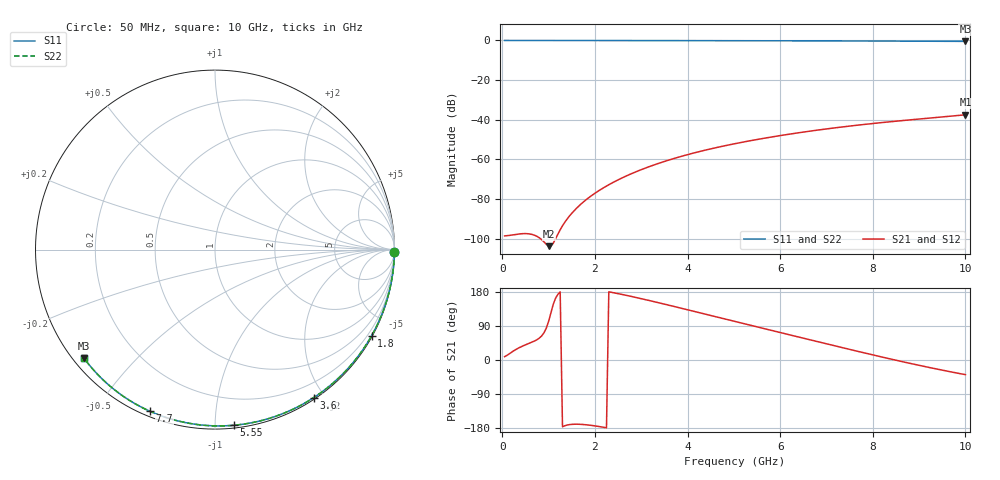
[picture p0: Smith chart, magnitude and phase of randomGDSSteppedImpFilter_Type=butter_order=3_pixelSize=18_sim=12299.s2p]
! freq	dB(S11)	phase(S11)	dB(S12)	phase(S12)
!  dB(S21)	phase(S21)	dB(S22)	phase(S22)
!S-par simulation data
#  GHz  S  DB  R 50
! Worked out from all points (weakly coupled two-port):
!   200 points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, 50 MHz to 10 GHz, reference 50 ohm
!   highest |S21| = -37.53 dB at 10 GHz (marker M1); lowest = -103.8 dB at 1 GHz (marker M2)
!   lowest |S11| = -0.5 dB at 10 GHz (marker M3), VSWR 37.55, Z = 1.5 - j18 ohm
!   |S11| at or under -10 dB: nowhere
!   |S22| runs from -0.5 to 0.0 dB; largest |S21 - S12| = 0
!   S11 on the Smith chart (normalised r, x): 50 MHz: open; 1.8 GHz: 0.03, -3.89; 3.6 GHz: 0.02, -1.87; 5.55 GHz: 0.02, -1.11; 7.7 GHz: 0.02, -0.67; 10 GHz: 0.03, -0.36
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0.05  -0.00 -0.8  -98.66 8.9  -98.66 8.9  -0.00 -0.8
0.5  -0.01 -8.1  -97.50 40.0  -97.50 40.0  -0.01 -8.1
1  -0.02 -16.2  -103.84 101.9  -103.84 101.9  -0.02 -16.2
1.75  -0.04 -28.1  -81.55 -170.2  -81.55 -170.2  -0.04 -28.1
1.8  -0.04 -28.8  -80.58 -170.8  -80.58 -170.8  -0.04 -28.8
1.85  -0.04 -29.6  -79.67 -171.4  -79.67 -171.4  -0.04 -29.6
2.05  -0.04 -32.8  -76.35 -174.8  -76.35 -174.8  -0.04 -32.8
2.25  -0.05 -35.9  -73.48 -178.9  -73.48 -178.9  -0.05 -35.9
2.55  -0.05 -40.5  -69.79 173.9  -69.79 173.9  -0.05 -40.5
2.95  -0.06 -46.6  -65.68 163.3  -65.68 163.3  -0.06 -46.6
3.4  -0.07 -53.3  -61.84 150.4  -61.84 150.4  -0.07 -53.3
3.6  -0.08 -56.3  -60.34 144.5  -60.34 144.5  -0.08 -56.3
3.9  -0.08 -60.7  -58.28 135.6  -58.28 135.6  -0.08 -60.7
4.3  -0.09 -66.5  -55.84 123.6  -55.84 123.6  -0.09 -66.5
5.05  -0.12 -77.1  -51.98 100.9  -51.98 100.9  -0.12 -77.1
5.55  -0.14 -83.9  -49.79 85.9  -49.79 85.9  -0.14 -83.9
6.1  -0.16 -91.3  -47.65 69.5  -47.65 69.5  -0.16 -91.3
6.7  -0.19 -99.2  -45.59 51.6  -45.59 51.6  -0.19 -99.2
7.7  -0.26 -112.0  -42.68 22.1  -42.68 22.1  -0.26 -112.0
8.35  -0.31 -120.1  -41.09 3.6  -41.09 3.6  -0.31 -120.1
9.2  -0.38 -130.6  -39.24 -19.3  -39.24 -19.3  -0.38 -130.6
10  -0.46 -140.4  -37.53 -38.7  -37.53 -38.7  -0.46 -140.4
